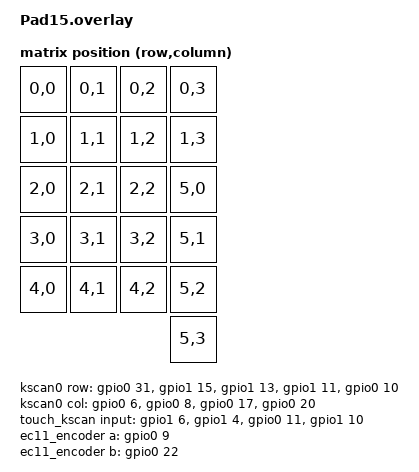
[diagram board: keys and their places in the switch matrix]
/* =========================================================================
 * Pad15 包含：按键矩阵、触摸条、物理布局、LED、摇杆、编码器、电池检测
 * ========================================================================= */

#include "physical_layouts.dtsi"
#include <dt-bindings/zmk/matrix_transform.h>
#include <dt-bindings/led/led.h>
#include <dt-bindings/pinctrl/nrf-pinctrl.h>
#include <zephyr/dt-bindings/input/input-event-codes.h>
#include <zephyr/dt-bindings/adc/adc.h>
#include <dt-bindings/zmk/input_transform.h>

/ {
    chosen {
        zmk,kscan = &kscan_combo;
        zmk,physical-layout = &layout;
        zmk,underglow = &pad15_leds;
        zmk,battery = &vbatt;
        zmk,ext-power = &ext_power;
    };

    ext_power {
        control-gpios = <&gpio0 13 GPIO_ACTIVE_HIGH>;
        init-delay-ms = <50>;
        status = "okay";
    };

    /* 扫描器定义 */
    kscan0: kscan {
        compatible = "zmk,kscan-gpio-matrix";
        diode-direction = "col2row";
        col-gpios = <&gpio0 6 GPIO_ACTIVE_HIGH>,
                    <&gpio0 8 GPIO_ACTIVE_HIGH>,
                    <&gpio0 17 GPIO_ACTIVE_HIGH>,
                    <&gpio0 20 GPIO_ACTIVE_HIGH>;
        row-gpios = <&gpio0 31 (GPIO_ACTIVE_HIGH | GPIO_PULL_DOWN)>,
                    <&gpio1 15 (GPIO_ACTIVE_HIGH | GPIO_PULL_DOWN)>,
                    <&gpio1 13 (GPIO_ACTIVE_HIGH | GPIO_PULL_DOWN)>,
                    <&gpio1 11 (GPIO_ACTIVE_HIGH | GPIO_PULL_DOWN)>,
                    <&gpio0 10 (GPIO_ACTIVE_HIGH | GPIO_PULL_DOWN)>;
    };

    touch_kscan: kscan_touch {
        compatible = "zmk,kscan-gpio-direct";
        input-gpios = <&gpio1 6 (GPIO_ACTIVE_HIGH | GPIO_PULL_DOWN)>,
                      <&gpio1 4 (GPIO_ACTIVE_HIGH | GPIO_PULL_DOWN)>,
                      <&gpio0 11 (GPIO_ACTIVE_HIGH | GPIO_PULL_DOWN)>,
                      <&gpio1 10 (GPIO_ACTIVE_HIGH | GPIO_PULL_DOWN)>;
    };

    kscan_combo: kscan_combo {
        compatible = "zmk,kscan-composite";
        rows = <6>;
        columns = <4>;
        matrix {
            kscan = <&kscan0>;
        };
        touch {
            kscan = <&touch_kscan>;
            row-offset = <5>; 
        };
    };

    /* 矩阵转换 */
    transform: matrix_transform {
        compatible = "zmk,matrix-transform";
        rows = <6>;
        columns = <4>;
        map = <
            RC(0,0) RC(0,1) RC(0,2) RC(0,3)
            RC(1,0) RC(1,1) RC(1,2) RC(1,3)
            RC(2,0) RC(2,1) RC(2,2) RC(5,0)
            RC(3,0) RC(3,1) RC(3,2) RC(5,1)
            RC(4,0) RC(4,1) RC(4,2) RC(5,2)
                                    RC(5,3)
        >;
    };

    /* 物理布局 */
    layout: layout {
        compatible = "zmk,physical-layout";
        display-name = "Pad15";
        transform = <&transform>;
        kscan = <&kscan_combo>;                
        keys = <
            &key_physical_attrs 100 100   0   0   0 0 0
            &key_physical_attrs 100 100 100   0   0 0 0
            &key_physical_attrs 100 100 200   0   0 0 0
            &key_physical_attrs 100 100 300   0   0 0 0
            &key_physical_attrs 100 100   0 100   0 0 0
            &key_physical_attrs 100 100 100 100   0 0 0
            &key_physical_attrs 100 100 200 100   0 0 0
            &key_physical_attrs 100 100 300 100   0 0 0
            &key_physical_attrs 100 100   0 200   0 0 0
            &key_physical_attrs 100 100 100 200   0 0 0
            &key_physical_attrs 100 100 200 200   0 0 0
            &key_physical_attrs 100 100 300 200   0 0 0
            &key_physical_attrs 100 100   0 300   0 0 0
            &key_physical_attrs 100 100 100 300   0 0 0
            &key_physical_attrs 100 100 200 300   0 0 0
            &key_physical_attrs 100 100 300 300   0 0 0
            &key_physical_attrs 100 100   0 400   0 0 0
            &key_physical_attrs 100 100 100 400   0 0 0
            &key_physical_attrs 100 100 200 400   0 0 0
            &key_physical_attrs 100 100 300 400   0 0 0
            &key_physical_attrs 100 100 300 500   0 0 0
        >;
    };

    /* 电池与传感器节点 */
    vbatt: vbatt {
        compatible = "zmk,battery-nrf-vddh";
    };

    ec11_encoder: ec11_encoder {
        compatible = "alps,ec11";
        a-gpios = <&gpio0 9 (GPIO_PULL_UP | GPIO_ACTIVE_LOW)>; 
        b-gpios = <&gpio0 22 (GPIO_PULL_UP | GPIO_ACTIVE_LOW)>; 
        steps = <80>; 
        status = "okay";
    };

    sensors {
        compatible = "zmk,keymap-sensors";
        sensors = <&ec11_encoder>;
        triggers-per-rotation = <80>; 
    };

    /* 转换层：ADC 摇杆逻辑 */
    joystick: analog_input_0 {
        compatible = "zmk,analog-input";
        sampling-hz = <100>; 

        x-ch {
            io-channels = <&adc 0>; 
            evt-type = <INPUT_EV_REL>;
            input-code = <INPUT_REL_X>;
            
            mv-mid = <1500>;
            mv-min-max = <1650>;
            mv-deadzone = <100>; 
            
            scale-multiplier = <1>;
            scale-divisor = <70>; 
        };

        y-ch {
            io-channels = <&adc 5>;
            evt-type = <INPUT_EV_REL>;
            input-code = <INPUT_REL_Y>;
            
            mv-mid = <1520>;
            mv-min-max = <1650>;
            mv-deadzone = <100>;
            
            scale-multiplier = <3>;
            scale-divisor = <4>;
        };
    };

    joystick_listener {
        compatible = "zmk,input-listener";
        device = <&joystick>;
    };
}; /* 根节点闭合 */


/* 现代化的 pinctrl：只保留 SPI3 灯效 (UART0 已彻底铲除) */
&pinctrl {
    spi3_default: spi3_default {
        group1 {
            psels = <NRF_PSEL(SPIM_MOSI, 0, 24)>;
        };
    };
    spi3_sleep: spi3_sleep {
        group1 {
            psels = <NRF_PSEL(SPIM_MOSI, 0, 24)>;
            low-power-enable;
        };
    };
};

&spi3 {
    compatible = "nordic,nrf-spim";
    status = "okay";
    pinctrl-0 = <&spi3_default>;
    pinctrl-1 = <&spi3_sleep>;
    pinctrl-names = "default", "sleep";

    pad15_leds: ws2812@0 {
        compatible = "worldsemi,ws2812-spi";
        reg = <0>;
        status = "okay";
        spi-max-frequency = <4000000>;
        chain-length = <16>;
        spi-one-frame = <0x70>;
        spi-zero-frame = <0x40>;
        color-mapping = <LED_COLOR_ID_GREEN LED_COLOR_ID_RED LED_COLOR_ID_BLUE>;
        
        led0: led_0 { x = <0>;   y = <0>; };
        led1: led_1 { x = <10>; y = <0>; };
        led2: led_2 { x = <20>; y = <0>; };
        led3: led_3 { x = <0>;   y = <10>; };
        led4: led_4 { x = <10>; y = <10>; };
        led5: led_5 { x = <20>; y = <10>; };
        led6: led_6 { x = <0>;   y = <20>; };
        led7: led7 { x = <10>; y = <20>; };
        led8: led_8 { x = <20>; y = <20>; };
        led15: led_15 { x = <30>; y = <20>; };
        led9:  led_9  { x = <0>;   y = <30>; };
        led10: led_10 { x = <10>; y = <30>; };
        led11: led_11 { x = <20>; y = <30>; };
        led12: led_12 { x = <0>;   y = <40>; };
        led13: led_13 { x = <10>; y = <40>; };
        led14: led_14 { x = <20>; y = <40>; };
    };
};

/* 硬件层：SAADC 采样配置 */
&adc {
    status = "okay";
    #address-cells = <1>;
    #size-cells = <0>;

    channel@0 {
        reg = <0>;
        zephyr,gain = "ADC_GAIN_1_6";
        zephyr,reference = "ADC_REF_INTERNAL";
        zephyr,acquisition-time = <ADC_ACQ_TIME(ADC_ACQ_TIME_MICROSECONDS, 40)>;
        zephyr,resolution = <12>; 
        zephyr,input-positive = <NRF_SAADC_AIN0>; /* X轴 P0.02 */
    };

    channel@5 {
        reg = <5>;
        zephyr,gain = "ADC_GAIN_1_6";
        zephyr,reference = "ADC_REF_INTERNAL";
        zephyr,acquisition-time = <ADC_ACQ_TIME(ADC_ACQ_TIME_MICROSECONDS, 40)>;
        zephyr,resolution = <12>;
        zephyr,input-positive = <NRF_SAADC_AIN5>; /* Y轴 P0.29 */
    };
};
